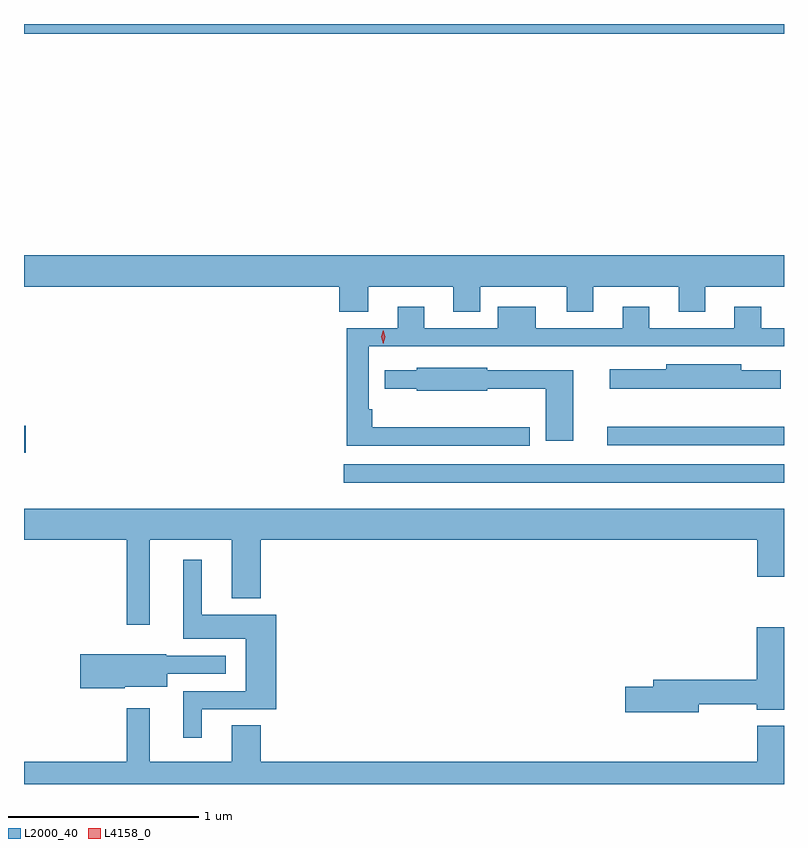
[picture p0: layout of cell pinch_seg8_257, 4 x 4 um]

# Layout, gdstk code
import gdstk
lib = gdstk.Library(unit=1e-6, precision=1e-09)
def R(c, l, rs):  # rectangles x0, y0, x1, y1
    for r in rs: c.add(gdstk.rectangle(r[:2], r[2:], *l))
def P(c, l, *ps):  # polygons
    for p in ps: c.add(gdstk.Polygon(p, *l))
L2000_40 = (2000, 40)
L4158_0 = (4158, 0)

pinch_seg8_257 = lib.new_cell('pinch_seg8_257')
R(pinch_seg8_257, L2000_40, [(491.97,1151.432,494.288,1151.529), (490.288,1151.59,490.297,1151.732), (493.359,1151.628,494.288,1151.726), (490.288,1153.796,494.288,1153.846)])
P(pinch_seg8_257, L2000_40, [(492.1,1152.464),(492.548,1152.464),(492.548,1152.331),(492.688,1152.331),(492.688,1152.464),(493.145,1152.464),(493.145,1152.331),(493.285,1152.331),(493.285,1152.464),(493.733,1152.464),(493.733,1152.331),(493.873,1152.331),(493.873,1152.464),(494.288,1152.464),(494.288,1152.628),(490.288,1152.628),(490.288,1152.464),(491.948,1152.464),(491.948,1152.331),(492.1,1152.331)],
  [(492.949,1151.723),(492.122,1151.723),(492.122,1151.818),(492.102,1151.818),(492.102,1152.15),(494.288,1152.15),(494.288,1152.246),(494.167,1152.246),(494.167,1152.358),(494.027,1152.358),(494.027,1152.246),(493.579,1152.246),(493.579,1152.358),(493.439,1152.358),(493.439,1152.246),(492.982,1152.246),(492.982,1152.358),(492.782,1152.358),(492.782,1152.246),(492.394,1152.246),(492.394,1152.358),(492.254,1152.358),(492.254,1152.246),(491.986,1152.246),(491.986,1151.625),(492.949,1151.625)],
  [(494.272,1152.024),(494.062,1152.024),(494.062,1152.055),(493.668,1152.055),(493.668,1152.028),(493.371,1152.028),(493.371,1151.927),(494.272,1151.927)],
  [(493.18,1152.024),(492.726,1152.024),(492.726,1152.037),(492.354,1152.037),(492.354,1152.024),(492.187,1152.024),(492.187,1151.927),(492.354,1151.927),(492.354,1151.915),(492.726,1151.915),(492.726,1151.927),(493.034,1151.927),(493.034,1151.652),(493.18,1151.652)],
  [(490.951,1151.132),(491.381,1151.132),(491.381,1150.823),(491.534,1150.823),(491.534,1151.132),(494.147,1151.132),(494.147,1150.938),(494.288,1150.938),(494.288,1151.296),(490.288,1151.296),(490.288,1151.132),(490.83,1151.132),(490.83,1150.683),(490.951,1150.683)],
  [(491.224,1150.239),(491.615,1150.239),(491.615,1150.738),(491.224,1150.738),(491.224,1151.026),(491.126,1151.026),(491.126,1150.61),(491.456,1150.61),(491.456,1150.335),(491.126,1150.335),(491.126,1150.089),(491.224,1150.089)],
  [(493.84,1150.266),(494.144,1150.266),(494.144,1150.238),(494.288,1150.238),(494.288,1150.672),(494.144,1150.672),(494.144,1150.394),(493.601,1150.394),(493.601,1150.358),(493.452,1150.358),(493.452,1150.223),(493.84,1150.223)],
  [(490.818,1150.358),(491.041,1150.358),(491.041,1150.425),(491.35,1150.425),(491.35,1150.521),(491.037,1150.521),(491.037,1150.529),(490.584,1150.529),(490.584,1150.351),(490.818,1150.351)],
  [(494.288,1150.153),(494.147,1150.153),(494.147,1149.964),(491.534,1149.964),(491.534,1150.154),(491.381,1150.154),(491.381,1149.964),(490.951,1149.964),(490.951,1150.246),(490.83,1150.246),(490.83,1149.964),(490.288,1149.964),(490.288,1149.846),(494.288,1149.846)])
P(pinch_seg8_257, L4158_0, [(492.179,1152.163),(492.179,1152.163),(492.169,1152.199),(492.179,1152.234),(492.179,1152.234),(492.18,1152.234),(492.189,1152.199),(492.18,1152.163)])

lib.write_gds('pinch_seg8_257.gds')
